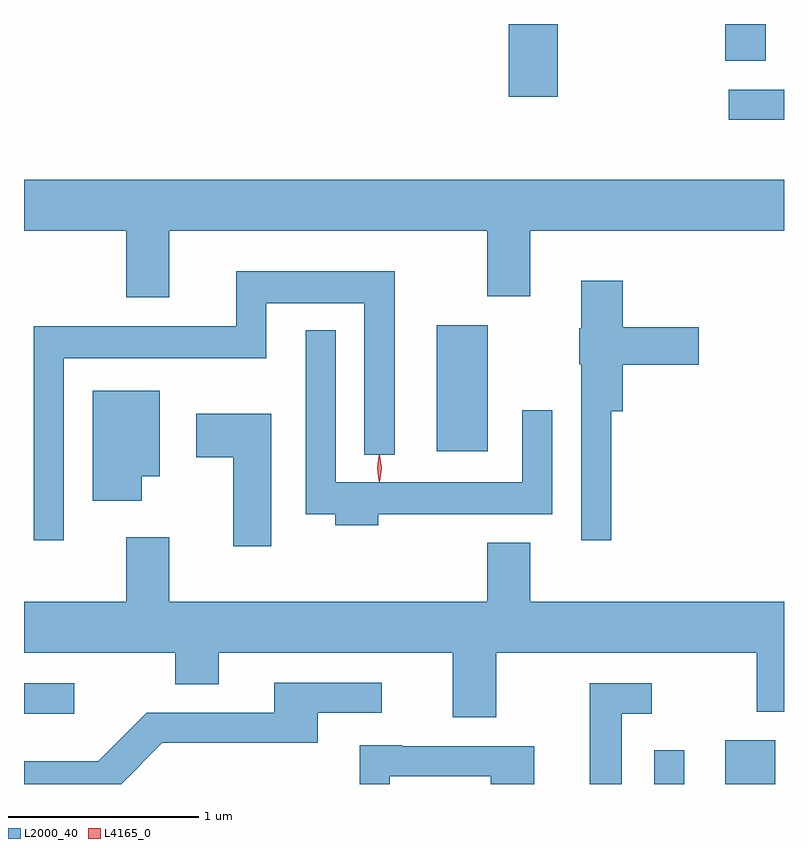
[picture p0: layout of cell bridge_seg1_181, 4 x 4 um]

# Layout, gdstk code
import gdstk
lib = gdstk.Library(unit=1e-6, precision=1e-09)
def R(c, l, rs):  # rectangles x0, y0, x1, y1
    for r in rs: c.add(gdstk.rectangle(r[:2], r[2:], *l))
def P(c, l, *ps):  # polygons
    for p in ps: c.add(gdstk.Polygon(p, *l))
L2000_40 = (2000, 40)
L4165_0 = (4165, 0)

bridge_seg1_181 = lib.new_cell('bridge_seg1_181')
R(bridge_seg1_181, L2000_40, [(778.801,956.605,778.959,956.783), (779.176,956.605,779.439,956.834), (775.484,956.976,775.748,957.134), (777.656,958.356,777.924,959.019), (779.193,960.101,779.484,960.259), (778.036,960.221,778.294,960.605), (779.176,960.411,779.389,960.605)])
P(bridge_seg1_181, L2000_40, [(776.249,959.516),(777.921,959.516),(777.921,959.171),(778.149,959.171),(778.149,959.516),(779.484,959.516),(779.484,959.784),(775.484,959.784),(775.484,959.516),(776.021,959.516),(776.021,959.166),(776.249,959.166)],
  [(775.694,958.846),(776.759,958.846),(776.759,959.136),(777.276,959.136),(777.276,958.338),(777.434,958.338),(777.434,959.304),(776.601,959.304),(776.601,959.014),(775.536,959.014),(775.536,957.888),(775.694,957.888)],
  [(778.574,958.566),(778.634,958.566),(778.634,958.811),(779.034,958.811),(779.034,959.009),(778.634,959.009),(778.634,959.254),(778.416,959.254),(778.416,959.005),(778.406,959.005),(778.406,958.815),(778.416,958.815),(778.416,957.888),(778.574,957.888)],
  [(777.349,958.026),(778.264,958.026),(778.264,958.573),(778.106,958.573),(778.106,958.194),(777.124,958.194),(777.124,958.993),(776.966,958.993),(776.966,958.026),(777.121,958.026),(777.121,957.966),(777.349,957.966)],
  [(776.104,958.226),(776.199,958.226),(776.199,958.674),(775.846,958.674),(775.846,958.096),(776.104,958.096)],
  [(776.784,958.554),(776.391,958.554),(776.391,958.326),(776.586,958.326),(776.586,957.856),(776.784,957.856)],
  [(777.969,957.296),(779.341,957.296),(779.341,956.986),(779.484,956.986),(779.484,957.564),(778.149,957.564),(778.149,957.874),(777.921,957.874),(777.921,957.564),(776.249,957.564),(776.249,957.904),(776.021,957.904),(776.021,957.564),(775.484,957.564),(775.484,957.296),(776.281,957.296),(776.281,957.131),(776.509,957.131),(776.509,957.296),(777.741,957.296),(777.741,956.956),(777.969,956.956)],
  [(776.212,956.821),(777.029,956.821),(777.029,956.981),(777.368,956.981),(777.368,957.139),(776.801,957.139),(776.801,956.979),(776.129,956.979),(775.874,956.724),(775.484,956.724),(775.484,956.605),(775.995,956.605)],
  [(778.629,956.976),(778.788,956.976),(778.788,957.134),(778.461,957.134),(778.461,956.605),(778.629,956.605)],
  [(777.409,956.646),(777.941,956.646),(777.941,956.605),(778.169,956.605),(778.169,956.804),(777.475,956.804),(777.475,956.809),(777.251,956.809),(777.251,956.605),(777.409,956.605)])
P(bridge_seg1_181, L4165_0, [(777.351,958.2),(777.342,958.266),(777.351,958.333),(777.352,958.333),(777.352,958.333),(777.362,958.266),(777.352,958.2),(777.352,958.2)],
  [(777.355,958.197),(777.346,958.267),(777.355,958.336),(777.356,958.336),(777.356,958.336),(777.366,958.267),(777.356,958.197),(777.356,958.197)])

lib.write_gds('bridge_seg1_181.gds')
